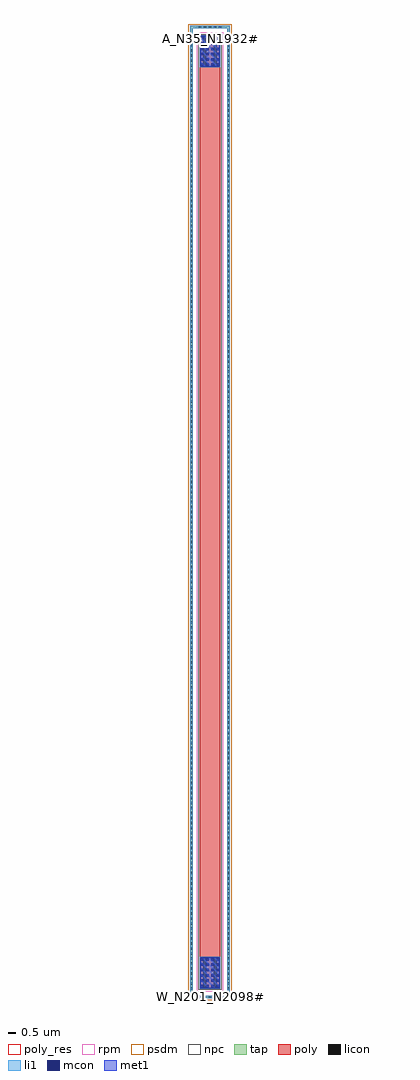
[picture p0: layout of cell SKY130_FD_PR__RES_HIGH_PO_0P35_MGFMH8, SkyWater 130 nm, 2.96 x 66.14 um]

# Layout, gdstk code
import gdstk
lib = gdstk.Library(unit=1e-6, precision=1e-09)
def R(c, l, rs):  # rectangles x0, y0, x1, y1
    for r in rs: c.add(gdstk.rectangle(r[:2], r[2:], *l))
def A(c, l, x, y, w, h, nx, ny, dx, dy):  # array of equal rectangles
    R(c, l, [(x+i*dx, y+j*dy, x+i*dx+w, y+j*dy+h) for i in range(nx) for j in range(ny)])
tap = (65, 44)
poly_res = (66, 13)
poly = (66, 20)
licon = (66, 44)
li1 = (67, 20)
mcon = (67, 44)
met1 = (68, 20)
rpm = (86, 20)
psdm = (94, 20)
npc = (95, 20)

sky130_fd_pr__res_high_p = lib.new_cell('SKY130_FD_PR__RES_HIGH_PO_0P35_MGFMH8')
R(sky130_fd_pr__res_high_p, tap, [(-1.355,-32.945,1.355,-32.775), (-1.355,-32.775,-1.185,32.775), (1.185,-32.775,1.355,32.775), (-1.355,32.775,1.355,32.945)])
R(sky130_fd_pr__res_high_p, poly_res, [(-0.705,-30.215,0.705,30.215)])
R(sky130_fd_pr__res_high_p, poly, [(-0.705,-32.295,0.705,32.295)])
A(sky130_fd_pr__res_high_p, licon, -0.765, -32.945, 0.17, 0.17, 5, 2, 0.34, 65.72)
A(sky130_fd_pr__res_high_p, licon, -1.355, -32.385, 0.17, 0.17, 1, 191, 0, 0.34)
A(sky130_fd_pr__res_high_p, licon, 1.185, -32.385, 0.17, 0.17, 1, 191, 0, 0.34)
R(sky130_fd_pr__res_high_p, licon, [(-0.45,-32.215,-0.26,-30.215), (0.26,-32.215,0.45,-30.215), (-0.45,30.215,-0.26,32.215), (0.26,30.215,0.45,32.215)])
R(sky130_fd_pr__res_high_p, li1, [(-1.355,-32.945,1.355,-32.775), (-1.355,-32.775,-1.185,32.775), (1.185,-32.775,1.355,32.775), (-0.705,-32.295,0.705,-30.135), (-0.705,30.135,0.705,32.295), (-1.355,32.775,1.355,32.945)])
A(sky130_fd_pr__res_high_p, mcon, -0.625, -32.2, 0.17, 0.17, 4, 6, 0.36, 0.36)
A(sky130_fd_pr__res_high_p, mcon, -0.625, 30.225, 0.17, 0.17, 4, 6, 0.36, 0.36)
R(sky130_fd_pr__res_high_p, met1, [(-0.655,-32.265,0.655,-30.16), (-0.655,30.16,0.655,32.265)])
R(sky130_fd_pr__res_high_p, rpm, [(-0.905,-32.495,0.905,32.495)])
R(sky130_fd_pr__res_high_p, psdm, [(-1.48,-33.07,1.48,33.07)])
R(sky130_fd_pr__res_high_p, npc, [(-0.8,-32.39,0.8,32.39)])
sky130_fd_pr__res_high_p.add(gdstk.Label('W_N201_N2098#', (0,-32.86), layer=67, texttype=5))
sky130_fd_pr__res_high_p.add(gdstk.Label('A_N35_N1932#', (0,32.12), layer=67, texttype=5))
sky130_fd_pr__res_high_p.add(gdstk.Label('A_N35_1500#', (0,-32.12), layer=67, texttype=5))

lib.write_gds('SKY130_FD_PR__RES_HIGH_PO_0P35_MGFMH8.gds')
